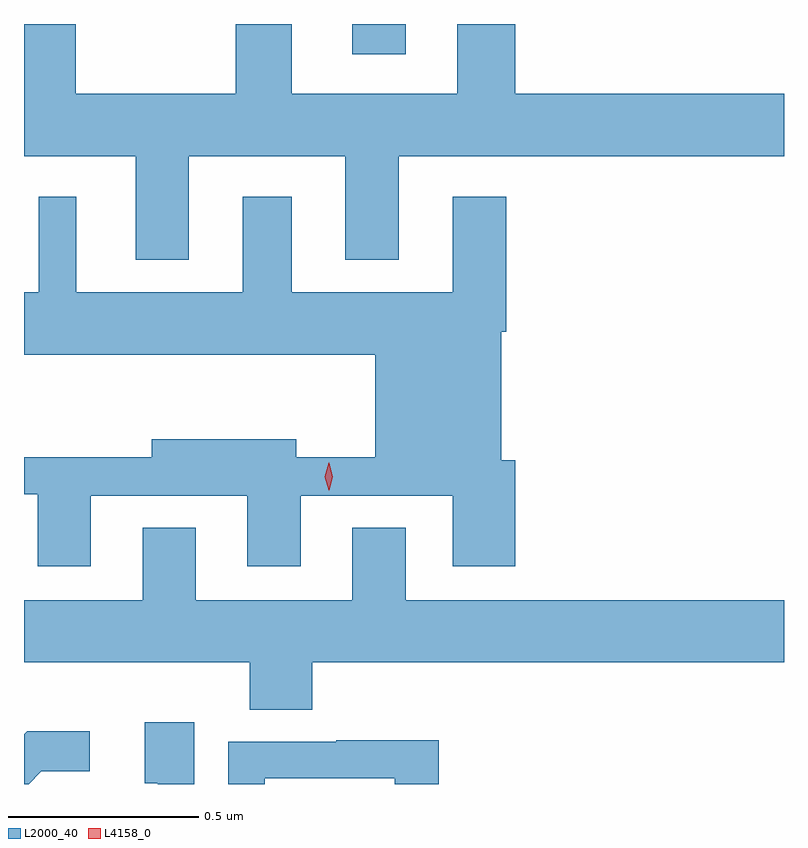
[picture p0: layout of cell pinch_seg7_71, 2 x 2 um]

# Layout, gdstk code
import gdstk
lib = gdstk.Library(unit=1e-6, precision=1e-09)
def R(c, l, rs):  # rectangles x0, y0, x1, y1
    for r in rs: c.add(gdstk.rectangle(r[:2], r[2:], *l))
def P(c, l, *ps):  # polygons
    for p in ps: c.add(gdstk.Polygon(p, *l))
L2000_40 = (2000, 40)
L4158_0 = (4158, 0)

pinch_seg7_71 = lib.new_cell('pinch_seg7_71')
R(pinch_seg7_71, L2000_40, [(962.033,1068.816,962.173,1068.896)])
P(pinch_seg7_71, L2000_40, [(961.603,1068.548),(962.015,1068.548),(962.015,1068.275),(962.155,1068.275),(962.155,1068.548),(963.169,1068.548),(963.169,1068.712),(962.462,1068.712),(962.462,1068.896),(962.309,1068.896),(962.309,1068.712),(961.873,1068.712),(961.873,1068.896),(961.726,1068.896),(961.726,1068.712),(961.305,1068.712),(961.305,1068.896),(961.169,1068.896),(961.169,1068.548),(961.463,1068.548),(961.463,1068.275),(961.603,1068.275)],
  [(961.345,1067.655),(961.757,1067.655),(961.757,1067.469),(961.897,1067.469),(961.897,1067.655),(962.297,1067.655),(962.297,1067.469),(962.462,1067.469),(962.462,1067.748),(962.425,1067.748),(962.425,1068.086),(962.438,1068.086),(962.438,1068.442),(962.297,1068.442),(962.297,1068.19),(961.873,1068.19),(961.873,1068.442),(961.745,1068.442),(961.745,1068.19),(961.306,1068.19),(961.306,1068.442),(961.208,1068.442),(961.208,1068.19),(961.169,1068.19),(961.169,1068.026),(962.093,1068.026),(962.093,1067.756),(961.885,1067.756),(961.885,1067.803),(961.505,1067.803),(961.505,1067.756),(961.169,1067.756),(961.169,1067.658),(961.205,1067.658),(961.205,1067.469),(961.345,1067.469)],
  [(961.928,1067.216),(963.169,1067.216),(963.169,1067.38),(962.173,1067.38),(962.173,1067.57),(962.033,1067.57),(962.033,1067.38),(961.621,1067.38),(961.621,1067.57),(961.481,1067.57),(961.481,1067.38),(961.169,1067.38),(961.169,1067.216),(961.763,1067.216),(961.763,1067.092),(961.928,1067.092)],
  [(961.617,1067.059),(961.487,1067.059),(961.487,1066.898),(961.521,1066.898),(961.521,1066.896),(961.617,1066.896)],
  [(961.215,1066.929),(961.342,1066.929),(961.342,1067.035),(961.177,1067.035),(961.169,1067.027),(961.169,1066.896),(961.182,1066.896)],
  [(961.803,1066.911),(962.145,1066.911),(962.145,1066.896),(962.261,1066.896),(962.261,1067.011),(961.991,1067.011),(961.991,1067.007),(961.707,1067.007),(961.707,1066.896),(961.803,1066.896)])
P(pinch_seg7_71, L4158_0, [(961.971,1067.669),(961.971,1067.669),(961.961,1067.705),(961.971,1067.741),(961.971,1067.741),(961.972,1067.741),(961.981,1067.705),(961.972,1067.669)])

lib.write_gds('pinch_seg7_71.gds')
